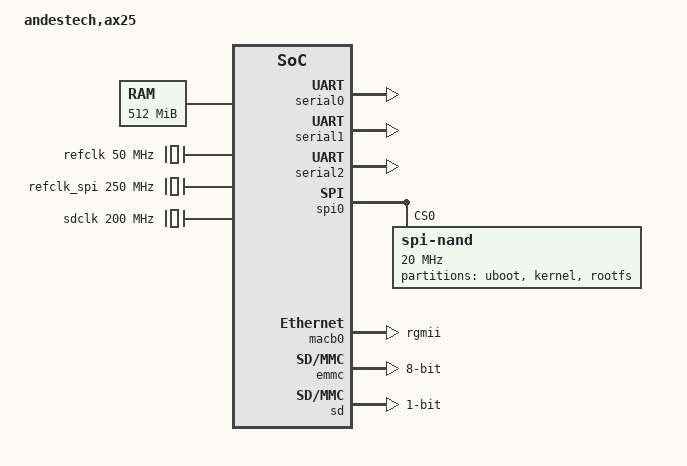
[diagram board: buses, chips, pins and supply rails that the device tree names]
/dts-v1/;
#include <dt-bindings/pinctrl/k510.h>

/ {
	#address-cells = <2>;
	#size-cells = <2>;
	compatible = "andestech,ax25";
	model = "andestech,ax25";

	aliases {
		uart0 = &serial0;
	};

	chosen {
		bootargs = "console=ttyS0,38400n8  debug loglevel=7";
		stdout-path = "uart0:38400n8";
	};

	cpus {
		#address-cells = <1>;
		#size-cells = <0>;
		timebase-frequency = <1250000>;
		CPU0: cpu@0 {
			device_type = "cpu";
			reg = <0>;
			status = "okay";
			compatible = "riscv";
			riscv,isa = "rv64imafdc";
			riscv,priv-major = <1>;
			riscv,priv-minor = <10>;
			mmu-type = "riscv,sv39";
			clock-frequency = <500000000>;
			i-cache-size = <0x8000>;
			i-cache-line-size = <32>;
			d-cache-size = <0x8000>;
			d-cache-line-size = <32>;
			next-level-cache = <&L2>;
			CPU0_intc: interrupt-controller {
				#interrupt-cells = <1>;
				interrupt-controller;
				compatible = "riscv,cpu-intc";
			};
		};
		CPU1: cpu@1 {
			device_type = "cpu";
			reg = <1>;
			status = "okay";
			compatible = "riscv";
			riscv,isa = "rv64imafdc";
			riscv,priv-major = <1>;
			riscv,priv-minor = <10>;
			mmu-type = "riscv,sv39";
			clock-frequency = <500000000>;
			i-cache-size = <0x8000>;
			i-cache-line-size = <32>;
			d-cache-size = <0x8000>;
			d-cache-line-size = <32>;
			next-level-cache = <&L2>;
			CPU1_intc: interrupt-controller {
				#interrupt-cells = <1>;
				interrupt-controller;
				compatible = "riscv,cpu-intc";
			};
		};
	};

	L2: l2-cache@9E900000 {
		compatible = "cache";
		cache-level = <2>;
		cache-size = <0x100000>;
		reg = <0x0 0x9E900000 0x0 0x100000>;
		andes,inst-prefetch = <3>;
		andes,data-prefetch = <3>;
		// The value format is <XRAMOCTL XRAMICTL>
		andes,tag-ram-ctl = <0 0>;
		andes,data-ram-ctl = <0 0>;
	};

	memory@0 {
		device_type = "memory";
		reg = <0x0 0x00000000 0x0 0x20000000>;
	};

	soc {
		#address-cells = <2>;
		#size-cells = <2>;
		compatible = "simple-bus";
		ranges;

	plic0: interrupt-controller@9A000000 {
		compatible = "riscv,plic0";
		#address-cells = <2>;
		#interrupt-cells = <2>;
		interrupt-controller;
		reg = <0x0 0x9A000000 0x0 0x4000000>;
		riscv,ndev=<140>;
			interrupts-extended = <&CPU0_intc 11 &CPU0_intc 9
								&CPU1_intc 11 &CPU1_intc 9>;
	};

	plic1: interrupt-controller@9E400000 {
		compatible = "riscv,plic1";
		#address-cells = <2>;
		#interrupt-cells = <2>;
		interrupt-controller;
		reg = <0x0 0x9E400000 0x0 0x400000>;
			riscv,ndev=<2>;
			interrupts-extended = <&CPU0_intc 3 &CPU1_intc 3>;
	};

	plmt0@9E000000 {
		compatible = "riscv,plmt0";
			interrupts-extended = <&CPU0_intc 7 &CPU1_intc 7>;
			reg = <0x0 0x9E000000 0x0 0x100000>;
		};
       };

	refclk: virt_50mhz {
		#clock-cells = <0>;
		compatible = "fixed-clock";
		clock-frequency = <50000000>;
	};

        refclk_spi: virt_250mhz {
                #clock-cells = <0>;
                compatible = "fixed-clock";
                clock-frequency = <250000000>;
        };

        sdclk: virt_200mhz {
                #clock-cells = <1>;
                compatible = "fixed-clock";
                clock-frequency = <200000000>;
        };

	serial0: serial@96000000 {
		compatible = "andestech,uart16550", "ns16550a";
		reg = <0x0 0x96000000 0x0 0x1000>;
		interrupts = <25 4>;
		clock-frequency = <25000000>;
		reg-shift = <2>;
                reg-io-width = <4>;
		no-loopback-test = <1>;
		interrupt-parent = <&plic0>;
	};

  serial1: serial@96010000 {
    compatible = "andestech,uart16550", "ns16550a";
    reg = <0x0 0x96010000 0x0 0x1000>;
    interrupts = <26 4>;
    clock-frequency = <25000000>;
    reg-shift = <2>;
    reg-io-width = <4>;
    no-loopback-test = <1>;
    interrupt-parent = <&plic0>;
  };

  serial2: serial@96020000 {
    compatible = "andestech,uart16550", "ns16550a";
    reg = <0x0 0x96020000 0x0 0x1000>;
    interrupts = <27 4>;
    clock-frequency = <25000000>;
    reg-shift = <2>;
    reg-io-width = <4>;
    no-loopback-test = <1>;
    interrupt-parent = <&plic0>;
  };

  spi0: spi@96080000 {
    compatible = "snps,dwc-ssi-1.01a";
    reg = <0x0 0x96080000 0x0 0x1000>;
    #address-cells = <1>;
    #size-cells = <0>;
    num-cs = <4>;
    clocks = <&refclk_spi>;
    spi-max-frequency = <50000000>;
    reg-io-width = <4>;
    interrupts = <3 4>;
    interrupt-parent = <&plic0>;
    snps,dfs-offset = <0>;
    snps,frf-offset = <6>;
    snps,mode-offset = <8>;
    snps,tmod-offset = <10>;
    spi-nand@0 {
            #address-cells = <1>;
            #size-cells = <1>;
            compatible = "spi-nand";
            spi-max-frequency = <20000000>;
            reg = <0>;
            partition@0 {
                    label = "uboot";
                    reg = <0x00000000 0x00200000>;
            };

            partition@200000 {
                    label = "kernel";
                    reg = <0x00200000 0x01E00000>;
            };

            partition@2000000 {
                    label = "rootfs";
                    reg = <0x02000000 0x06000000>;
            };
    };
  };

    macb0: ethernet@93030000 {
        compatible = "cdns,macb";
        reg = <0x0 0x93030000 0x0 0x10000>;
        phy-mode = "rgmii";
        interrupts = <54 4>;
        interrupt-parent = <&plic0>;
        clocks = <&refclk>, <&refclk>;
        clock-names = "hclk", "pclk";
    };


    iomux: iomux@97040000 {
        compatible = "pinctrl-single";
        reg = <0x0 0x97040000 0x0 0x10000>;
        #address-cells = <1>;
        #size-cells = <0>;
        #pinctrl-cells = <1>;
        pinctrl-single,register-width = <32>;
        pinctrl-single,function-mask = <0xffffffff>;
    };

    emmc: mmc0@93000000 {
        compatible = "socionext,uniphier-sd4hc", "cdns,sd4hc";
        reg = <0x0 0x93000000 0x0 0x400>;
        interrupts = <48 4>;
        interrupt-parent = <&plic0>;
        clocks = <&sdclk 4>;
        max-frequency = <200000000>;
        cap-mmc-highspeed;
        bus-width = <8>;
    };

    sd: mmc2@93020000 {
        compatible = "socionext,uniphier-sd4hc", "cdns,sd4hc";
        reg = <0x0 0x93020000 0x0 0x400>;
        interrupts = <50 4>;
        interrupt-parent = <&plic0>;
        clocks = <&sdclk 4>;
        max-frequency = <200000000>;
        cap-sd-highspeed;
        bus-width = <1>;
    };

};

    &iomux {
        pinctrl-names = "default";
        pinctrl-0 = <&uart0_pins &emac_pins &spi0_pins &mmc0_pins &mmc2_pins>;

        uart0_pins: iomux_uart0_pins {
            pinctrl-single,pins = <
              (112*4) (0x54<<16 | 0x3<<10 | 0x1<<7 | 0x1<<5 | 0x1<<3)    /* uart0_rxd */
              (113*4) (0x5a<<16 | 0x3<<10 | 0x1<<6 | 0x1<<5 | 0x1<<3 | 0x1)    /* uart0_txd */
            >;
        };
/*
        emac_pins: iomux_emac_pins {
            pinctrl-single,pins = <
              (IO_EMAC_MDC*4) (MUXPIN_OE_EN | MUXPIN_DRIVING_7<<MUXPIN_DRIVING_OFF)
              (IO_EMAC_MDIO*4) (MUXPIN_IE_EN |MUXPIN_OE_EN | MUXPIN_DRIVING_7<<MUXPIN_DRIVING_OFF)
              (IO_EMAC_RX_ER*4) (MUXPIN_IE_EN | MUXPIN_DRIVING_7<<MUXPIN_DRIVING_OFF)
              (IO_EMAC_TX_EN*4) (MUXPIN_OE_EN | MUXPIN_DRIVING_7<<MUXPIN_DRIVING_OFF)
              (IO_EMAC_CRS*4) (MUXPIN_IE_EN | MUXPIN_DRIVING_7<<MUXPIN_DRIVING_OFF)
              (IO_EMAC_TX_D0*4) (MUXPIN_OE_EN | MUXPIN_DRIVING_7<<MUXPIN_DRIVING_OFF)
              (IO_EMAC_TX_D1*4) (MUXPIN_OE_EN | MUXPIN_DRIVING_7<<MUXPIN_DRIVING_OFF)
              (IO_EMAC_RX_D0*4) (MUXPIN_IE_EN | MUXPIN_DRIVING_7<<MUXPIN_DRIVING_OFF)
              (IO_EMAC_RX_D1*4) (MUXPIN_IE_EN | MUXPIN_DRIVING_7<<MUXPIN_DRIVING_OFF)
              (IO_EMAC_REF_OUT*4) (MUXPIN_IE_EN | MUXPIN_DRIVING_7<<MUXPIN_DRIVING_OFF)
            >;
        };
*/
         //RGMII
        emac_pins: iomux_emac_pins {
            pinctrl-single,pins = <
              (IO_EMAC_MDC*4) (MUXPIN_OE_EN | MUXPIN_IO_MSC | MUXPIN_DRIVING_7<<MUXPIN_DRIVING_OFF)
              (IO_EMAC_MDIO*4) (MUXPIN_IE_EN |MUXPIN_OE_EN | MUXPIN_IO_MSC | MUXPIN_DRIVING_7<<MUXPIN_DRIVING_OFF)
              (IO_EMAC_TX_CLK_OUT*4) (MUXPIN_OE_EN | MUXPIN_IO_MSC | MUXPIN_DRIVING_7<<MUXPIN_DRIVING_OFF)
              (IO_EMAC_TX_CTL*4) (MUXPIN_OE_EN | MUXPIN_IO_MSC | MUXPIN_DRIVING_7<<MUXPIN_DRIVING_OFF)
              (IO_EMAC_TX_D0*4) (MUXPIN_OE_EN | MUXPIN_IO_MSC | MUXPIN_DRIVING_7<<MUXPIN_DRIVING_OFF)
              (IO_EMAC_TX_D1*4) (MUXPIN_OE_EN | MUXPIN_IO_MSC | MUXPIN_DRIVING_7<<MUXPIN_DRIVING_OFF)
              (IO_EMAC_TX_D2*4) (MUXPIN_OE_EN | MUXPIN_IO_MSC | MUXPIN_DRIVING_7<<MUXPIN_DRIVING_OFF)
              (IO_EMAC_TX_D3*4) (MUXPIN_OE_EN | MUXPIN_IO_MSC | MUXPIN_DRIVING_7<<MUXPIN_DRIVING_OFF)
              (IO_EMAC_RX_CLK_IN*4) (MUXPIN_IE_EN | MUXPIN_IO_MSC | MUXPIN_DRIVING_7<<MUXPIN_DRIVING_OFF)
              (IO_EMAC_RX_CTL*4) (MUXPIN_IE_EN | MUXPIN_IO_MSC | MUXPIN_DRIVING_7<<MUXPIN_DRIVING_OFF)
              (IO_EMAC_RX_D0*4) (MUXPIN_IE_EN | MUXPIN_IO_MSC |MUXOIN_PU | MUXPIN_DRIVING_7<<MUXPIN_DRIVING_OFF)
              (IO_EMAC_RX_D1*4) (MUXPIN_IE_EN | MUXPIN_IO_MSC |MUXOIN_PU | MUXPIN_DRIVING_7<<MUXPIN_DRIVING_OFF)
              (IO_EMAC_RX_D2*4) (MUXPIN_IE_EN | MUXPIN_IO_MSC | MUXPIN_DRIVING_7<<MUXPIN_DRIVING_OFF)
              (IO_EMAC_RX_D3*4) (MUXPIN_IE_EN | MUXPIN_IO_MSC | MUXPIN_DRIVING_7<<MUXPIN_DRIVING_OFF)
            >;
        };

        spi0_pins: iomux_spi0_pins {
            pinctrl-single,pins = <
              (IO_SPI0_CLK*4) (MUXPIN_OE_EN | MUXPIN_DRIVING_7<<MUXPIN_DRIVING_OFF)
              (IO_SPI0_CS*4) (MUXPIN_OE_EN | MUXPIN_DRIVING_7<<MUXPIN_DRIVING_OFF)
              (IO_SPI0_D0*4) (MUXPIN_IE_EN | MUXPIN_OE_EN | MUXPIN_DRIVING_7<<MUXPIN_DRIVING_OFF)
              (IO_SPI0_D1*4) (MUXPIN_IE_EN | MUXPIN_OE_EN | MUXPIN_DRIVING_7<<MUXPIN_DRIVING_OFF)
              (IO_SPI0_D2*4) (MUXPIN_IE_EN | MUXPIN_OE_EN | MUXPIN_DRIVING_7<<MUXPIN_DRIVING_OFF)
              (IO_SPI0_D3*4) (MUXPIN_IE_EN | MUXPIN_OE_EN | MUXPIN_DRIVING_7<<MUXPIN_DRIVING_OFF)
              (IO_SPI0_D4*4) (MUXPIN_IE_EN | MUXPIN_OE_EN | MUXPIN_DRIVING_7<<MUXPIN_DRIVING_OFF)
              (IO_SPI0_D5*4) (MUXPIN_IE_EN | MUXPIN_OE_EN | MUXPIN_DRIVING_7<<MUXPIN_DRIVING_OFF)
              (IO_SPI0_D6*4) (MUXPIN_IE_EN | MUXPIN_OE_EN | MUXPIN_DRIVING_7<<MUXPIN_DRIVING_OFF)
              (IO_SPI0_D7*4) (MUXPIN_IE_EN | MUXPIN_OE_EN | MUXPIN_DRIVING_7<<MUXPIN_DRIVING_OFF)
              (IO_SPI0_ARB*4) (MUXPIN_IE_EN | MUXPIN_DRIVING_7<<MUXPIN_DRIVING_OFF)
            >;
        };

        mmc0_pins: iomux_mmc0_pins {
            pinctrl-single,pins = <
              (IO_MMC0_CLK*4) (MUXPIN_OE_EN | MUXPIN_DRIVING_7<<MUXPIN_DRIVING_OFF)
              (IO_MMC0_CMD*4) (MUXPIN_IE_EN |MUXPIN_OE_EN | MUXPIN_DRIVING_7<<MUXPIN_DRIVING_OFF)
              (IO_MMC0_DATA7*4) (MUXPIN_IE_EN |MUXPIN_OE_EN | MUXPIN_DRIVING_7<<MUXPIN_DRIVING_OFF)
              (IO_MMC0_DATA6*4) (MUXPIN_IE_EN |MUXPIN_OE_EN | MUXPIN_DRIVING_7<<MUXPIN_DRIVING_OFF)
              (IO_MMC0_DATA5*4) (MUXPIN_IE_EN |MUXPIN_OE_EN | MUXPIN_DRIVING_7<<MUXPIN_DRIVING_OFF)
              (IO_MMC0_DATA4*4) (MUXPIN_IE_EN |MUXPIN_OE_EN | MUXPIN_DRIVING_7<<MUXPIN_DRIVING_OFF)
              (IO_MMC0_DATA3*4) (MUXPIN_IE_EN |MUXPIN_OE_EN | MUXPIN_DRIVING_7<<MUXPIN_DRIVING_OFF)
              (IO_MMC0_DATA2*4) (MUXPIN_IE_EN |MUXPIN_OE_EN | MUXPIN_DRIVING_7<<MUXPIN_DRIVING_OFF)
              (IO_MMC0_DATA1*4) (MUXPIN_IE_EN |MUXPIN_OE_EN | MUXPIN_DRIVING_7<<MUXPIN_DRIVING_OFF)
              (IO_MMC0_DATA0*4) (MUXPIN_IE_EN |MUXPIN_OE_EN | MUXPIN_DRIVING_7<<MUXPIN_DRIVING_OFF)
            >;
        };

        mmc2_pins: iomux_mmc2_pins {
            pinctrl-single,pins = <
              (IO_MMC2_CLK*4) (MUXPIN_OE_EN | MUXPIN_DRIVING_7<<MUXPIN_DRIVING_OFF)
              (IO_MMC2_CMD*4) (MUXPIN_IE_EN |MUXPIN_OE_EN | MUXPIN_DRIVING_7<<MUXPIN_DRIVING_OFF)
              (IO_MMC2_DATA3*4) (MUXPIN_IE_EN |MUXPIN_OE_EN | MUXPIN_DRIVING_7<<MUXPIN_DRIVING_OFF)
              (IO_MMC2_DATA2*4) (MUXPIN_IE_EN |MUXPIN_OE_EN | MUXPIN_DRIVING_7<<MUXPIN_DRIVING_OFF)
              (IO_MMC2_DATA1*4) (MUXPIN_IE_EN |MUXPIN_OE_EN | MUXPIN_DRIVING_7<<MUXPIN_DRIVING_OFF)
              (IO_MMC2_DATA0*4) (MUXPIN_IE_EN |MUXPIN_OE_EN | MUXPIN_DRIVING_7<<MUXPIN_DRIVING_OFF)
            >;
        };

    };

